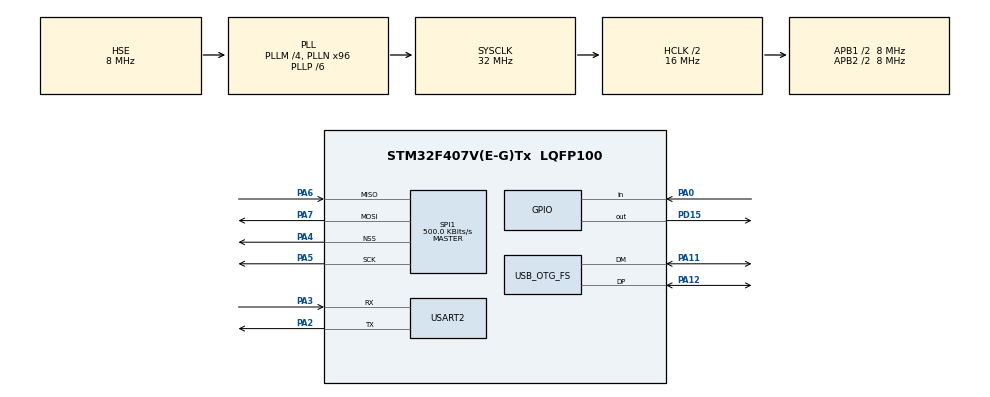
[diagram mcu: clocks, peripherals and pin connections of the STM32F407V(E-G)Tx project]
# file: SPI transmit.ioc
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Mcu.Family=STM32F4
Mcu.Name=STM32F407V(E-G)Tx
Mcu.Package=LQFP100
NVIC.OTG_FS_IRQn=true\:0\:0\:false\:false\:true\:false\:true
NVIC.PriorityGroup=NVIC_PRIORITYGROUP_4
NVIC.USART2_IRQn=true\:1\:0\:true\:false\:true\:true\:true
PA0-WKUP.Signal=GPIO_Input
PA11.Mode=Device_Only
PA11.Signal=USB_OTG_FS_DM
PA12.Mode=Device_Only
PA12.Signal=USB_OTG_FS_DP
PA13.Mode=Serial_Wire
PA13.Signal=SYS_JTMS-SWDIO
PA14.Mode=Serial_Wire
PA14.Signal=SYS_JTCK-SWCLK
PA2.Mode=Asynchronous
PA2.Signal=USART2_TX
PA3.Mode=Asynchronous
PA3.Signal=USART2_RX
PA4.Mode=NSS_Signal_Hard_Output
PA4.Signal=SPI1_NSS
PA5.Mode=Full_Duplex_Master
PA5.Signal=SPI1_SCK
PA6.Mode=Full_Duplex_Master
PA6.Signal=SPI1_MISO
PA7.Mode=Full_Duplex_Master
PA7.Signal=SPI1_MOSI
PD15.Signal=GPIO_Output
PH0-OSC_IN.Mode=HSE-External-Oscillator
PH0-OSC_IN.Signal=RCC_OSC_IN
PH1-OSC_OUT.Mode=HSE-External-Oscillator
PH1-OSC_OUT.Signal=RCC_OSC_OUT
ProjectManager.HeapSize=0x400
ProjectManager.StackSize=0x400
ProjectManager.TargetToolchain=MDK-ARM V5
RCC.48MHZClocksFreq_Value=48000000
RCC.AHBCLKDivider=RCC_SYSCLK_DIV2
RCC.AHBFreq_Value=16000000
RCC.APB1CLKDivider=RCC_HCLK_DIV2
RCC.APB1Freq_Value=8000000
RCC.APB1TimFreq_Value=16000000
RCC.APB2CLKDivider=RCC_HCLK_DIV2
RCC.APB2Freq_Value=8000000
RCC.APB2TimFreq_Value=16000000
RCC.CortexFreq_Value=16000000
RCC.HCLKFreq_Value=16000000
RCC.HSE_VALUE=8000000
RCC.HSI_VALUE=16000000
RCC.LSE_VALUE=32768
RCC.PLLM=4
RCC.PLLN=96
RCC.PLLP=RCC_PLLP_DIV6
RCC.SYSCLKFreq_VALUE=32000000
RCC.SYSCLKSource=RCC_SYSCLKSOURCE_PLLCLK
RCC.VCOOutputFreq_Value=192000000
SPI1.BaudRatePrescaler=SPI_BAUDRATEPRESCALER_16
SPI1.CRCCalculation=SPI_CRCCALCULATION_DISABLE
SPI1.CalculateBaudRate=500.0 KBits/s
SPI1.Direction=SPI_DIRECTION_2LINES
SPI1.Mode=SPI_MODE_MASTER
SPI1.VirtualNSS=VM_NSSHARD
SPI1.VirtualType=VM_MASTER
USART2.VirtualMode=VM_ASYNC
USB_DEVICE.CLASS_NAME_FS=CDC
USB_DEVICE.VirtualMode-CDC_FS=Cdc
USB_DEVICE.VirtualModeFS=Cdc_FS
USB_OTG_FS.VirtualMode=Device_Only
VP_CRC_VS_CRC.Mode=CRC_Activate
VP_USB_DEVICE_VS_USB_DEVICE_CDC_FS.Mode=CDC_FS
board=custom

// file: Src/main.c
/* USER CODE BEGIN Header */
/**
  ******************************************************************************
  * @file           : main.c
  * @brief          : Main program body
  ******************************************************************************
  * @attention
  *
  * <h2><center>&copy; Copyright (c) 2019 STMicroelectronics.
  * All rights reserved.</center></h2>
  *
  * This software component is licensed by ST under BSD 3-Clause license,
  * the "License"; You may not use this file except in compliance with the
  * License. You may obtain a copy of the License at:
  *                        opensource.org/licenses/BSD-3-Clause
  *
  ******************************************************************************
  */
/* USER CODE END Header */

#include "main.h"
#include "usb_device.h"

/* USER CODE BEGIN Includes */
#include "usbd_cdc_if.h"
#include <ctype.h>
/* USER CODE END Includes */

CRC_HandleTypeDef hcrc;

SPI_HandleTypeDef hspi1;

UART_HandleTypeDef huart2;

/* USER CODE BEGIN PV */
uint8_t str_Tx[24] = {0};
uint8_t str_Rx[24] = {0};
int flag = 0;
int USB_flag = 0;
//CAN_RxHeaderTypeDef RxHeader;
//CAN_FilterTypeDef sFilterConfig;
/* USER CODE END PV */

void SystemClock_Config(void);
static void MX_GPIO_Init(void);
static void MX_SPI1_Init(void);
static void MX_CRC_Init(void);
static void MX_USART2_UART_Init(void);
/* USER CODE BEGIN PFP */
void MK_Processing(uint8_t *s); // Перевод в верхний регистр
/* USER CODE END PFP */

/* USER CODE BEGIN 0 */
/*void HAL_CAN_RxFifo0MsgPendingCallback(CAN_HandleTypeDef *hcan)
{
	HAL_CAN_GetRxMessage(&hcan1, CAN_RX_FIFO0, &RxHeader, strReceive);
	flag = 1;
}*/
void HAL_UART_RxCpltCallback(UART_HandleTypeDef *huart)
{
	if(huart == &huart2)
  {
    if(huart2.RxXferCount == 0)
    {
			flag = 1;
    }
  }
}
/* USER CODE END 0 */

int main(void)
{
  /* USER CODE BEGIN 1 */
	uint32_t Tx_Message_CRC[5] = {0};
	uint32_t Rx_Message_CRC[6] = {0};
	uint32_t CRC_Tx;
	uint32_t CRC_Rx;
	uint8_t UART_str_Rx[24] = {0};
  /* USER CODE END 1 */

  /* MCU Configuration--------------------------------------------------------*/

  /* Reset of all peripherals, Initializes the Flash interface and the Systick. */
  HAL_Init();

  /* Configure the system clock */
  SystemClock_Config();

  /* Initialize all configured peripherals */
  MX_GPIO_Init();
  MX_SPI1_Init();
  MX_USB_DEVICE_Init();
  MX_CRC_Init();
  MX_USART2_UART_Init();
  /* USER CODE BEGIN 2 */
	// Настройка фильтра приема
	/*sFilterConfig.FilterBank = 0; // Выбор банка (всего банков 14)
	sFilterConfig.FilterFIFOAssignment = CAN_FILTER_FIFO0; // Привязка буфера на прием
	sFilterConfig.FilterIdHigh = 0x245<<5; // Максимальный ID сообщения в списке
	sFilterConfig.FilterIdLow = 0x0000; // Минимальный ID сообщения в списке
	sFilterConfig.FilterMaskIdHigh = 0x0000; // Максимальная битовая маска для ID, аналогично ethernet
	sFilterConfig.FilterMaskIdLow = 0x0000; // Минимальная битовая маска для ID
	sFilterConfig.FilterScale = CAN_FILTERSCALE_32BIT; // Формат фильтра
	sFilterConfig.FilterActivation = CAN_FILTER_ENABLE; // Разрешаем работу фильтра

	HAL_CAN_ConfigFilter(&hcan1, &sFilterConfig); // Применение настройки фильтра для CAN1

	HAL_CAN_Start(&hcan1);
	HAL_CAN_ActivateNotification(&hcan1, CAN_IT_RX_FIFO0_MSG_PENDING);
	*/

  /* USER CODE END 2 */

  /* Infinite loop */
  /* USER CODE BEGIN WHILE */
  while (1)
  {
		HAL_UART_Receive_IT(&huart2, UART_str_Rx, 24);
		if (USB_flag == 1)
		{
			HAL_Delay(100);
		  CDC_Transmit_FS((uint8_t *)"LARGE 20 CHARACTERS\r\nENTER STRING AGAIN\r\n", 41);
			USB_flag = 0;
		}
			if (HAL_GPIO_ReadPin(GPIOA, GPIO_PIN_0) == 1)
			{
				HAL_Delay(500);
				if (HAL_GPIO_ReadPin(GPIOA, GPIO_PIN_0) == 0)
				{
						HAL_Delay(10);
						CDC_Transmit_FS(str_Tx, 20);
						HAL_Delay(10);
						CDC_Transmit_FS((uint8_t *) "\r\n",2);
						MK_Processing(str_Tx);
						for (int i = 0, j = 0; i < 5; i++, j+=4)
						{
							Tx_Message_CRC[i] = str_Tx[j+3] | (str_Tx[j+2] << 8) | (str_Tx[j+1] << 16) | (str_Tx[j] << 24);
						}
						CRC_Tx = HAL_CRC_Calculate(&hcrc, Tx_Message_CRC, 5);
						for (int i = 20, j = 24; i < 24 ; i++, j-=8)
						str_Tx[i] = (uint8_t)( CRC_Tx >> j);
						HAL_SPI_Transmit(&hspi1, (uint8_t*) str_Tx, 24, 1500);
				}
			}

			// Обработка приема по UART и вывод префиксной строки
			if (flag == 1)
			{
				// Подготовка к вычислению контрольной суммы принятого собщения
				for (int i = 0, j = 0; i < 6; i++, j+=4)
						{
							Rx_Message_CRC[i] = UART_str_Rx[j+3] | (UART_str_Rx[j+2] << 8) | (UART_str_Rx[j+1] << 16) | (UART_str_Rx[j] << 24);
						}

				CRC_Rx = HAL_CRC_Calculate(&hcrc, Rx_Message_CRC, 6); // Вычисление CRC принимаемого сообщения

				if (CRC_Rx == 0) // Если CRC(data+CRC) == 0, то ошибок при передаче не было
				{
						// Успешный прием
						HAL_GPIO_TogglePin(GPIOD, GPIO_PIN_15);
						HAL_Delay(2000);
						HAL_GPIO_TogglePin(GPIOD, GPIO_PIN_15);
					// Выводим в терминал принятую строку
						CDC_Transmit_FS(UART_str_Rx, 20);
						HAL_Delay(10);
						CDC_Transmit_FS((uint8_t *) "\r\n",2);
				}
				else
				{
					for (int i = 0; i < 10; i++)
					{
						HAL_GPIO_TogglePin(GPIOB, GPIO_PIN_15);
						HAL_Delay(500);
					}
					HAL_Delay(10);
					CDC_Transmit_FS((uint8_t *) "CRC NOT EQUALS\r\n",16);
				}
				flag = 0;
			}
    /* USER CODE END WHILE */

  }
}

void SystemClock_Config(void)
{
  RCC_OscInitTypeDef RCC_OscInitStruct = {0};
  RCC_ClkInitTypeDef RCC_ClkInitStruct = {0};

  /** Configure the main internal regulator output voltage
  */
  __HAL_RCC_PWR_CLK_ENABLE();
  __HAL_PWR_VOLTAGESCALING_CONFIG(PWR_REGULATOR_VOLTAGE_SCALE1);
  /** Initializes the CPU, AHB and APB busses clocks
  */
  RCC_OscInitStruct.OscillatorType = RCC_OSCILLATORTYPE_HSE;
  RCC_OscInitStruct.HSEState = RCC_HSE_ON;
  RCC_OscInitStruct.PLL.PLLState = RCC_PLL_ON;
  RCC_OscInitStruct.PLL.PLLSource = RCC_PLLSOURCE_HSE;
  RCC_OscInitStruct.PLL.PLLM = 4;
  RCC_OscInitStruct.PLL.PLLN = 96;
  RCC_OscInitStruct.PLL.PLLP = RCC_PLLP_DIV6;
  RCC_OscInitStruct.PLL.PLLQ = 4;
  if (HAL_RCC_OscConfig(&RCC_OscInitStruct) != HAL_OK)
  {
    Error_Handler();
  }
  /** Initializes the CPU, AHB and APB busses clocks
  */
  RCC_ClkInitStruct.ClockType = RCC_CLOCKTYPE_HCLK|RCC_CLOCKTYPE_SYSCLK
                              |RCC_CLOCKTYPE_PCLK1|RCC_CLOCKTYPE_PCLK2;
  RCC_ClkInitStruct.SYSCLKSource = RCC_SYSCLKSOURCE_PLLCLK;
  RCC_ClkInitStruct.AHBCLKDivider = RCC_SYSCLK_DIV2;
  RCC_ClkInitStruct.APB1CLKDivider = RCC_HCLK_DIV2;
  RCC_ClkInitStruct.APB2CLKDivider = RCC_HCLK_DIV2;

  if (HAL_RCC_ClockConfig(&RCC_ClkInitStruct, FLASH_LATENCY_0) != HAL_OK)
  {
    Error_Handler();
  }
}

static void MX_CRC_Init(void)
{

  hcrc.Instance = CRC;
  if (HAL_CRC_Init(&hcrc) != HAL_OK)
  {
    Error_Handler();
  }

}

static void MX_SPI1_Init(void)
{

  /* SPI1 parameter configuration*/
  hspi1.Instance = SPI1;
  hspi1.Init.Mode = SPI_MODE_MASTER;
  hspi1.Init.Direction = SPI_DIRECTION_2LINES;
  hspi1.Init.DataSize = SPI_DATASIZE_8BIT;
  hspi1.Init.CLKPolarity = SPI_POLARITY_LOW;
  hspi1.Init.CLKPhase = SPI_PHASE_1EDGE;
  hspi1.Init.NSS = SPI_NSS_HARD_OUTPUT;
  hspi1.Init.BaudRatePrescaler = SPI_BAUDRATEPRESCALER_16;
  hspi1.Init.FirstBit = SPI_FIRSTBIT_MSB;
  hspi1.Init.TIMode = SPI_TIMODE_DISABLE;
  hspi1.Init.CRCCalculation = SPI_CRCCALCULATION_DISABLE;
  hspi1.Init.CRCPolynomial = 10;
  if (HAL_SPI_Init(&hspi1) != HAL_OK)
  {
    Error_Handler();
  }

}

static void MX_USART2_UART_Init(void)
{

  huart2.Instance = USART2;
  huart2.Init.BaudRate = 115200;
  huart2.Init.WordLength = UART_WORDLENGTH_8B;
  huart2.Init.StopBits = UART_STOPBITS_1;
  huart2.Init.Parity = UART_PARITY_NONE;
  huart2.Init.Mode = UART_MODE_TX_RX;
  huart2.Init.HwFlowCtl = UART_HWCONTROL_NONE;
  huart2.Init.OverSampling = UART_OVERSAMPLING_16;
  if (HAL_UART_Init(&huart2) != HAL_OK)
  {
    Error_Handler();
  }

}

static void MX_GPIO_Init(void)
{
  GPIO_InitTypeDef GPIO_InitStruct = {0};

  /* GPIO Ports Clock Enable */
  __HAL_RCC_GPIOH_CLK_ENABLE();
  __HAL_RCC_GPIOA_CLK_ENABLE();
  __HAL_RCC_GPIOD_CLK_ENABLE();

  /*Configure GPIO pin Output Level */
  HAL_GPIO_WritePin(GPIOD, GPIO_PIN_15, GPIO_PIN_RESET);

  /*Configure GPIO pin : PA0 */
  GPIO_InitStruct.Pin = GPIO_PIN_0;
  GPIO_InitStruct.Mode = GPIO_MODE_INPUT;
  GPIO_InitStruct.Pull = GPIO_NOPULL;
  HAL_GPIO_Init(GPIOA, &GPIO_InitStruct);

  /*Configure GPIO pin : PD15 */
  GPIO_InitStruct.Pin = GPIO_PIN_15;
  GPIO_InitStruct.Mode = GPIO_MODE_OUTPUT_PP;
  GPIO_InitStruct.Pull = GPIO_NOPULL;
  GPIO_InitStruct.Speed = GPIO_SPEED_FREQ_LOW;
  HAL_GPIO_Init(GPIOD, &GPIO_InitStruct);

}

/* USER CODE BEGIN 4 */
void MK_Processing(uint8_t *s)
{
	for (int i = 0; i < 20; i++)
	s[i] = toupper(s[i]);
}
/* USER CODE END 4 */

void Error_Handler(void)
{
}

/************************ (C) COPYRIGHT STMicroelectronics *****END OF FILE****/
